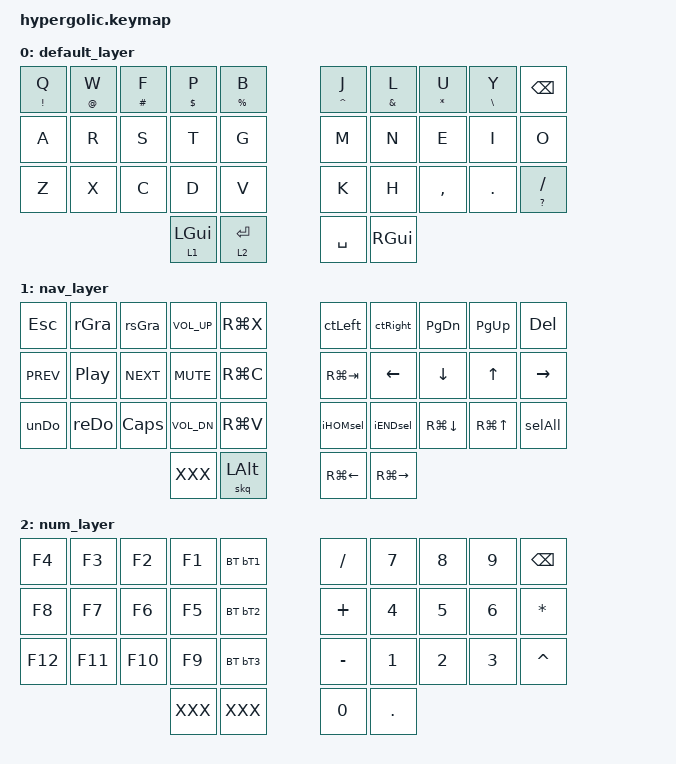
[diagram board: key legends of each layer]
#include <behaviors.dtsi>
#include <dt-bindings/zmk/keys.h>
#include <dt-bindings/zmk/bt.h>
#include "cradio.h"


&mt {
    tapping-term-ms = <300>;
};

/ { 
    behaviors {
        hm: hold_mods {
            compatible = "zmk,behavior-hold-tap";
            label = "HOLD_TAP";
            #binding-cells = <2>;
            tapping-term-ms = <300>;
            quick_tap_ms = <0>;
            flavor = "tap-preferred";
            bindings = <&kp>, <&kp>;
        };
        skq: sticky_key_quick_release {
            compatible = "zmk,behavior-sticky-key";
            label = "STICKY_KEY_QUICK_RELEASE";
            #binding-cells = <1>;
            bindings = <&kp>;
            release-after-ms = <2000>;
            quick-release;
        };
        lst: layer_sticky_tap {
            compatible = "zmk,behavior-hold-tap";
            label = "LAYER_STICKY_TAP";
            #binding-cells = <2>;
            tapping-term-ms = <175>;
            quick_tap_ms = <0>;
            flavor = "tap-preferred";
            bindings = <&mo>, <&sk>;
        };
    };

    combos {
        #include "combos.dtsi"
    };

    keymap {
            compatible = "zmk,keymap";
            
    	default_layer {
    		bindings = <
            // ╭─────────────┬─────────────┬─────────────┬─────────────┬─────────────╮   ╭─────────────┬─────────────┬─────────────┬─────────────┬─────────────╮
                 &hm EXCL Q    &hm AT W      &hm HASH F    &hm DLLR P    &hm PRCNT B       &hm CARET J   &hm AMPS L    &hm STAR U    &hm BSLH Y    &kp BSPC 
            // ├─────────────┼─────────────┼─────────────┼─────────────┼─────────────┤   ├─────────────┼─────────────┼─────────────┼─────────────┼─────────────┤
                 &kp A         &kp R         &kp S         &kp T         &kp G             &kp M         &kp N         &kp E         &kp I         &kp O
            // ├─────────────┼─────────────┼─────────────┼─────────────┼─────────────┤   ├─────────────┼─────────────┼─────────────┼─────────────┼─────────────┤
                 &kp Z         &kp X         &kp C         &kp D         &kp V	           &kp K         &kp H         &kp COMMA     &kp DOT       &hm QMARK SLASH
            // ╰─────────────┴─────────────┴─────────────┼─────────────┼─────────────┤   ├─────────────┼─────────────┼─────────────┴─────────────┴─────────────╯
                                                           &lst 1 LGUI   &lt 2 RET         &kp SPACE     &kp RGUI 
            //                                           ╰─────────────┴─────────────╯   ╰─────────────┴─────────────╯
		    >;
        };
		  
        nav_layer {
            bindings = <
            // ╭─────────────┬─────────────┬─────────────┬─────────────┬─────────────╮   ╭─────────────┬─────────────┬─────────────┬─────────────┬─────────────╮
                 &kp ESC       &kp rGra      &kp rsGra     &kp C_VOL_UP  &kp RG(X)         &kp ctLeft    &kp ctRight   &kp PG_DN     &kp PG_UP     &kp DEL
            // ├─────────────┼─────────────┼─────────────┼─────────────┼─────────────┤   ├─────────────┼─────────────┼─────────────┼─────────────┼─────────────┤
                 &kp C_PREV    &kp C_PP      &kp C_NEXT    &kp K_MUTE    &kp RG(C)         &kp RG(TAB)   &kp LEFT      &kp DOWN      &kp UP        &kp RIGHT
            // ├─────────────┼─────────────┼─────────────┼─────────────┼─────────────┤   ├─────────────┼─────────────┼─────────────┼─────────────┼─────────────┤
                 &kp unDo      &kp reDo      &kp CAPS      &kp C_VOL_DN  &kp RG(V)         &kp iHOMsel   &kp iENDsel   &kp RG(DOWN)  &kp RG(UP)    &kp selAll 
            // ╰─────────────┴─────────────┴─────────────┼─────────────┼─────────────┤   ├─────────────┼─────────────┼─────────────┴─────────────┴─────────────╯
                                                           &kp XXX       &skq LALT         &kp RG(LEFT)  &kp RG(RIGHT)
            //                                           ╰─────────────┴─────────────╯   ╰─────────────┴─────────────╯
            >;
        };
        
        num_layer {
            bindings = <
            // ╭─────────────┬─────────────┬─────────────┬─────────────┬─────────────╮   ╭─────────────┬─────────────┬─────────────┬─────────────┬─────────────╮
                 &kp F4        &kp F3        &kp F2        &kp F1        &bt bT1           &kp SLASH     &kp N7        &kp N8        &kp N9        &kp BSPC
            // ├─────────────┼─────────────┼─────────────┼─────────────┼─────────────┤   ├─────────────┼─────────────┼─────────────┼─────────────┼─────────────┤
                 &kp F8        &kp F7        &kp F6        &kp F5        &bt bT2           &kp PLUS      &kp N4        &kp N5        &kp N6        &kp STAR 
            // ├─────────────┼─────────────┼─────────────┼─────────────┼─────────────┤   ├─────────────┼─────────────┼─────────────┼─────────────┼─────────────┤
                 &kp F12       &kp F11       &kp F10       &kp F9        &bt bT3           &kp MINUS     &kp N1        &kp N2        &kp N3        &kp CARET
            // ╰─────────────┴─────────────┴─────────────┼─────────────┼─────────────┤   ├─────────────┼─────────────┼─────────────┴─────────────┴─────────────╯
                                                           &kp XXX       &kp XXX           &kp N0        &kp DOT
            //                                           ╰─────────────┴─────────────╯   ╰─────────────┴─────────────╯
            >;
        };   
    };
};
